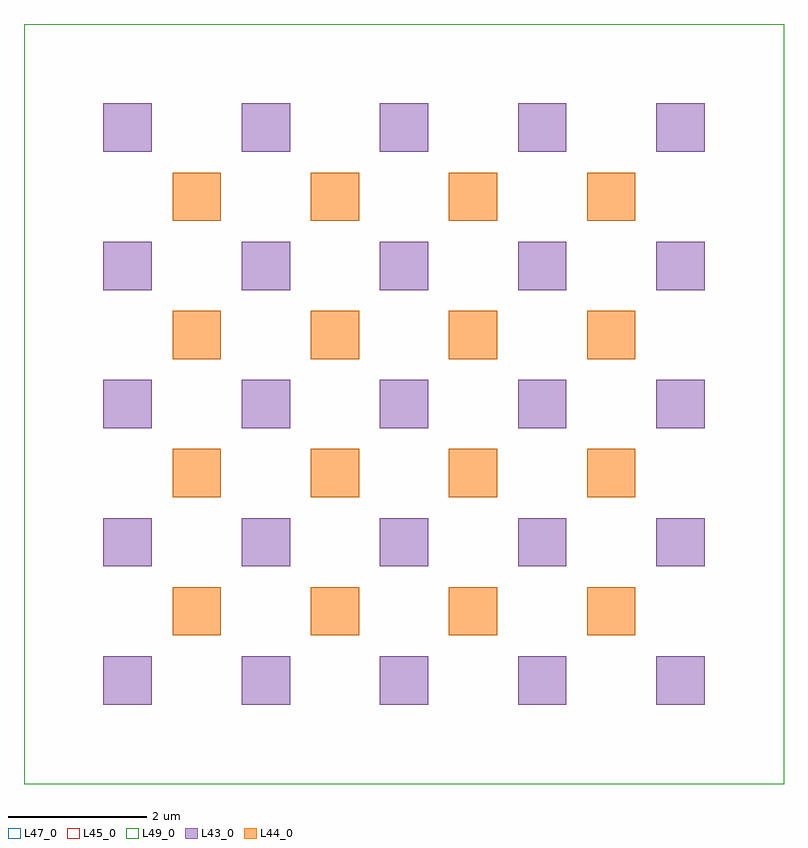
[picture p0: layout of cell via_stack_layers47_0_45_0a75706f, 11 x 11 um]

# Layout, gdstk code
import gdstk
lib = gdstk.Library(unit=1e-6, precision=1e-09)
def R(c, l, rs):  # rectangles x0, y0, x1, y1
    for r in rs: c.add(gdstk.rectangle(r[:2], r[2:], *l))
L43_0 = (43, 0)
L44_0 = (44, 0)
L45_0 = (45, 0)
L47_0 = (47, 0)
L49_0 = (49, 0)

rectangle_layer47_0_size = lib.new_cell('rectangle_layer47_0_size11_11')
R(rectangle_layer47_0_size, L47_0, [(0,0,11,11)])

compass_layer47_0_size11 = lib.new_cell('compass_layer47_0_size11_11')
compass_layer47_0_size11.add(gdstk.Reference(rectangle_layer47_0_size, (-5.5,-5.5)))

rectangle_layer45_0_size = lib.new_cell('rectangle_layer45_0_size11_11')
R(rectangle_layer45_0_size, L45_0, [(0,0,11,11)])

compass_layer45_0_size11 = lib.new_cell('compass_layer45_0_size11_11')
compass_layer45_0_size11.add(gdstk.Reference(rectangle_layer45_0_size, (-5.5,-5.5)))

rectangle_layer49_0_size = lib.new_cell('rectangle_layer49_0_size11_11')
R(rectangle_layer49_0_size, L49_0, [(0,0,11,11)])

compass_layer49_0_size11 = lib.new_cell('compass_layer49_0_size11_11')
compass_layer49_0_size11.add(gdstk.Reference(rectangle_layer49_0_size, (-5.5,-5.5)))

via_enclosure2_layer44_0 = lib.new_cell('via_enclosure2_layer44_0')
R(via_enclosure2_layer44_0, L44_0, [(-0.35,-0.35,0.35,0.35)])

via_layer43_0 = lib.new_cell('via_layer43_0')
R(via_layer43_0, L43_0, [(-0.35,-0.35,0.35,0.35)])

via_stack_layers47_0_45_ = lib.new_cell('via_stack_layers47_0_45_0a75706f')
via_stack_layers47_0_45_.add(gdstk.Reference(compass_layer47_0_size11, (0,0)))
via_stack_layers47_0_45_.add(gdstk.Reference(compass_layer45_0_size11, (0,0)))
via_stack_layers47_0_45_.add(gdstk.Reference(compass_layer49_0_size11, (0,0)))
r = gdstk.Reference(via_enclosure2_layer44_0, (-3,-3)); r.repetition = gdstk.Repetition(4, 4, v1=(2,0), v2=(0,2)); via_stack_layers47_0_45_.add(r)
r = gdstk.Reference(via_layer43_0, (-4,-4)); r.repetition = gdstk.Repetition(5, 5, v1=(2,0), v2=(0,2)); via_stack_layers47_0_45_.add(r)

lib.write_gds('via_stack_layers47_0_45_0a75706f.gds')
